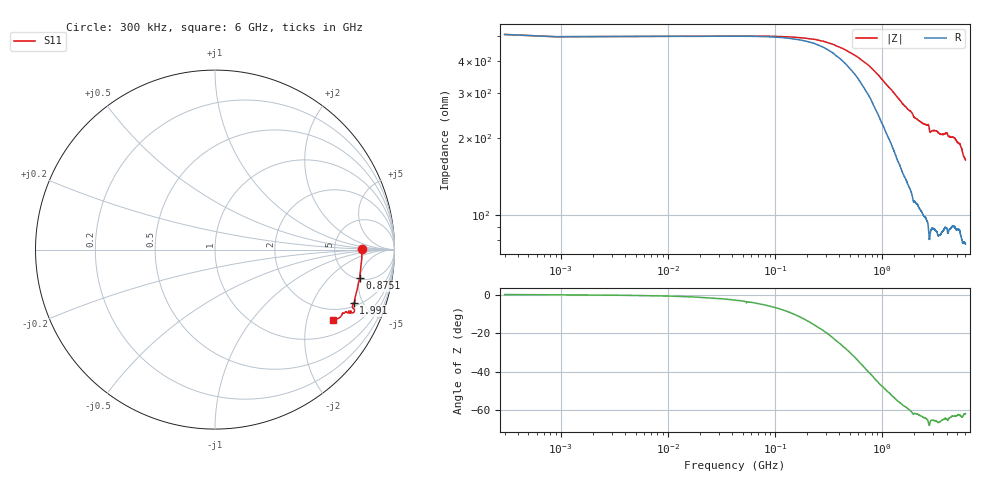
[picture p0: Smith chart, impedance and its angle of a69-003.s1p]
!  3/12/2021  06:33:53
! Ref Plane: 23.990 mm
# MHZ S MA R  50
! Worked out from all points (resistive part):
!   10001 points, 300 kHz to 6 GHz, reference 50 ohm
!   read as one part to ground: R = 499 ohm at 30.3 MHz
!   S11 on the Smith chart (normalised r, x): 300 kHz: 10, +0; 875.1 MHz: 5.13, -5.03; 1.991 GHz: 2.26, -4.24; 6 GHz: 1.54, -2.90
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0.3  0.8203 0.1
388.4806  0.8185 -5.3
750.2625  0.8202 -9.7
875.0563  0.8208 -11.2
1101.245  0.821 -13.7
1500.225  0.8235 -17.3
1924.404  0.8314 -20.3
1991.001  0.8273 -21.0
2250.188  0.8277 -21.9
2548.973  0.8312 -22.8
2671.966  0.8378 -23.1
2735.563  0.8486 -23.7
2783.561  0.8417 -24.7
2842.958  0.8301 -24.6
3000.15  0.8302 -24.3
3367.332  0.8338 -25.0
3750.113  0.822 -25.0
3907.305  0.8205 -24.8
4068.097  0.8258 -24.9
4185.091  0.8171 -25.4
4500.075  0.8087 -25.3
4776.661  0.8061 -25.5
5073.046  0.7963 -26.5
5250.038  0.7943 -26.7
5551.822  0.7932 -28.2
5673.616  0.7854 -29.3
5773.211  0.7757 -29.9
6000  0.765 -30.7
